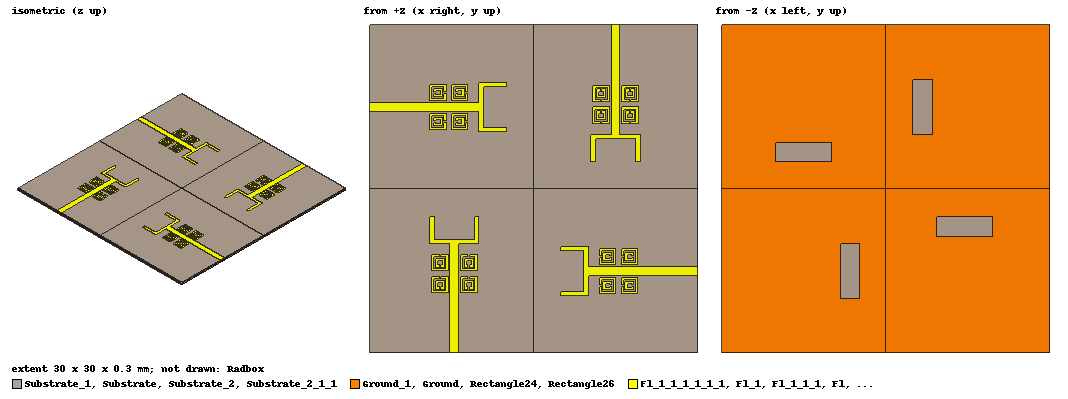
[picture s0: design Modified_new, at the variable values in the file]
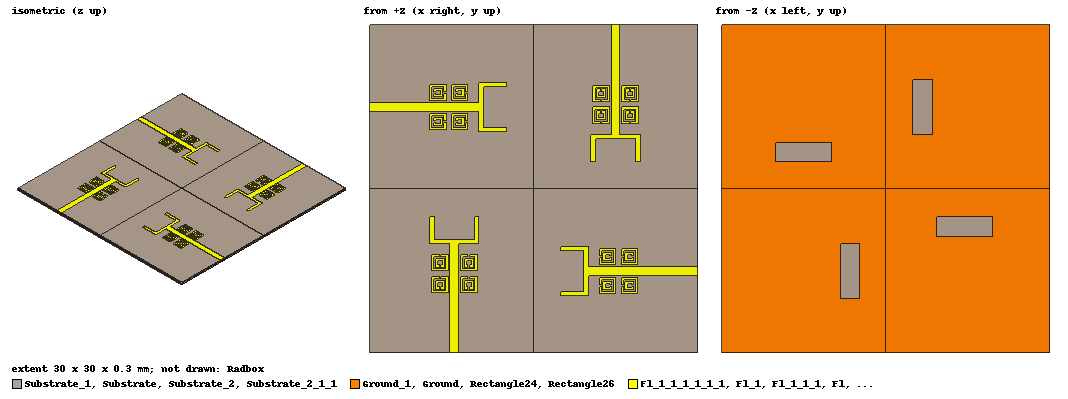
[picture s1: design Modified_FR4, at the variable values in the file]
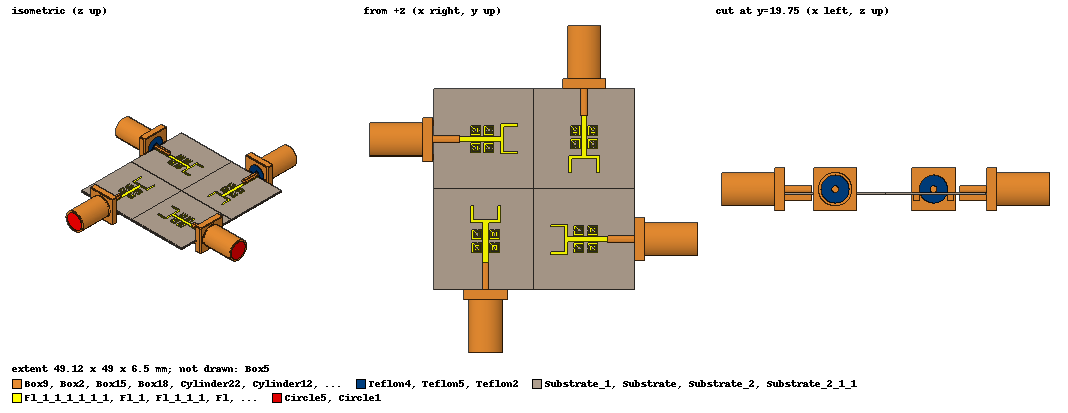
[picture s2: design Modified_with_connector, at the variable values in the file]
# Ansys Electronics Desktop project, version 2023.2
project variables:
  $dist = 2.5Ns_per_m
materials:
  vacuum: permittivity=1
  Rogers RO4003 (tm): permittivity=3.55 dielectric_loss_tangent=0.0027
  FR4_epoxy: permittivity=4.4 dielectric_loss_tangent=0.02
  pec: conductivity=1e+30
  Teflon (tm): permittivity=2.1 dielectric_loss_tangent=0.001
  brass: conductivity=15000000
  air: permittivity=1.0006 permeability=1.0000004

design Modified_new (HFSS, HFSS Modal Network, model units mm)
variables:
  Cx = 0mm
  Cy = 0mm
  Cz = 0mm
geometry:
  Ground = rectangle(corner=(0mm, 0mm, 0mm), x_size=15mm, y_size=15mm)
  Substrate [Rogers RO4003 (tm)] = box(corner=(0mm, 0mm, 0mm), size=(15mm, 15mm, 0.3mm))
  Fl = rectangle(corner=(0mm, 7.1mm, 0.3mm), x_size=10mm, y_size=0.8mm)
  Uout = rectangle(corner=(10mm, 5.25mm, 0.3mm), x_size=2.5mm, y_size=4.5mm)
  Usubtracted = rectangle(corner=(10.4mm, 5.65mm, 0.3mm), x_size=2.1mm, y_size=3.7mm)
  Uout.subtract(Usubtracted)
  Fl.unite(Uout)
  Rectangle1 = rectangle(corner=(10.725mm, 4.95mm, 0mm), x_size=1.8mm, y_size=5.1mm)
  Rectangle2 = rectangle(corner=(0mm, 7.9mm, 0.3mm), y_size=-0.8mm, z_size=-0.3mm)
  Ground.subtract(Rectangle1)
  Rectangle3 = rectangle(corner=(7.5mm, 9.375mm, 0.3mm), x_size=1.5mm, y_size=0.2mm)
  Rectangle4 = rectangle(corner=(7.5mm, 8.075mm, 0.3mm), x_size=0.2mm, y_size=1.5mm)
  Rectangle5 = rectangle(corner=(7.5mm, 8.075mm, 0.3mm), x_size=1.5mm, y_size=0.2mm)
  Rectangle6 = rectangle(corner=(8.8mm, 8.075mm, 0.3mm), x_size=0.2mm, y_size=1.5mm)
  Rectangle7 = rectangle(corner=(8.8mm, 8.75mm, 0.3mm), x_size=0.2mm, y_size=0.15mm)
  Rectangle6.subtract(Rectangle7)
  Rectangle8 = rectangle(corner=(7.5mm, 6.725mm, 0.3mm), x_size=1.5mm, y_size=0.2mm)
  Rectangle9 = rectangle(corner=(7.5mm, 5.425mm, 0.3mm), x_size=0.2mm, y_size=1.5mm)
  Rectangle10 = rectangle(corner=(7.5mm, 5.425mm, 0.3mm), x_size=1.5mm, y_size=0.2mm)
  Rectangle11 = rectangle(corner=(8.8mm, 5.425mm, 0.3mm), x_size=0.2mm, y_size=1.5mm)
  Rectangle12 = rectangle(corner=(8.8mm, 8.95mm, 0.3mm), x_size=0.2mm, y_size=0.15mm)
  Rectangle11.subtract(Rectangle12)
  Rectangle13 = rectangle(corner=(8.8mm, 6.105mm, 0.3mm), x_size=0.2mm, y_size=0.15mm)
  Rectangle11.subtract(Rectangle13)
  Rectangle14 = rectangle(corner=(7.85mm, 8.425mm, 0.3mm), x_size=0.2mm, y_size=0.8mm)
  Rectangle15 = rectangle(corner=(7.85mm, 8.425mm, 0.3mm), x_size=0.8mm, y_size=0.2mm)
  Rectangle16 = rectangle(corner=(7.85mm, 9.025mm, 0.3mm), x_size=0.8mm, y_size=0.2mm)
  Rectangle17 = rectangle(corner=(8.45mm, 8.425mm, 0.3mm), x_size=0.2mm, y_size=0.8mm)
  Rectangle18 = rectangle(corner=(7.85mm, 8.75mm, 0.3mm), x_size=0.2mm, y_size=0.15mm)
  Rectangle14.subtract(Rectangle18)
  Rectangle19 = rectangle(corner=(7.85mm, 5.775mm, 0.3mm), x_size=0.8mm, y_size=0.2mm)
  Rectangle20 = rectangle(corner=(7.85mm, 5.775mm, 0.3mm), x_size=0.2mm, y_size=0.8mm)
  Rectangle21 = rectangle(corner=(7.85mm, 6.375mm, 0.3mm), x_size=0.8mm, y_size=0.2mm)
  Rectangle22 = rectangle(corner=(8.45mm, 5.775mm, 0.3mm), x_size=0.2mm, y_size=0.8mm)
  Rectangle23 = rectangle(corner=(7.85mm, 6.105mm, 0.3mm), x_size=0.2mm, y_size=0.15mm)
  Rectangle20.subtract(Rectangle23)
  Rectangle3.unite(Rectangle4, Rectangle5, Rectangle6)
  Rectangle8.unite(Rectangle9, Rectangle10, Rectangle11)
  Rectangle14.unite(Rectangle15, Rectangle16, Rectangle17)
  Rectangle19.unite(Rectangle20, Rectangle21, Rectangle22)
  coordinate_system RelativeCS1 = origin=(0mm, 0mm, 0mm) x=(1mm, 0mm, 0mm) y=(0mm, 1mm, 0mm)
  coordinate_system RelativeCS2 = origin=(6.7592334mm, 7.5mm, 0.3mm) x=(1mm, 0mm, 0mm) y=(0mm, 1mm, 0mm) in RelativeCS1
  Ground_1 = Ground.duplicate_along_line(step=(15mm, 0mm, 0mm), total=2) in RelativeCS2
  Substrate_1 [Rogers RO4003 (tm)] = Substrate.duplicate_along_line(step=(15mm, 0mm, 0mm), total=2) in RelativeCS2
  Fl_1 = Fl.duplicate_along_line(step=(15mm, 0mm, 0mm), total=2) in RelativeCS2
  Rectangle3_1 = Rectangle3.duplicate_along_line(step=(15mm, 0mm, 0mm), total=2) in RelativeCS2
  Rectangle8_1 = Rectangle8.duplicate_along_line(step=(15mm, 0mm, 0mm), total=2) in RelativeCS2
  Rectangle14_1 = Rectangle14.duplicate_along_line(step=(15mm, 0mm, 0mm), total=2) in RelativeCS2
  Rectangle19_1 = Rectangle19.duplicate_along_line(step=(15mm, 0mm, 0mm), total=2) in RelativeCS2
  [Ground_1, Substrate_1, Fl_1, Rectangle3_1, Rectangle8_1, Rectangle14_1, Rectangle19_1].mirror(point=(8.2407666mm, 7.5mm, 0mm), normal=(-0.70710678mm, -0.70710678mm, 0mm)) in RelativeCS2
  Substrate_2 [Rogers RO4003 (tm)] = Substrate.duplicate_along_line(step=(0mm, -15mm, 0mm), total=2) in RelativeCS2
  Substrate_2_1 = Substrate_2.duplicate_along_line(step=(15mm, -2.6645353e-15mm, 0mm), total=2) in RelativeCS2
  Substrate_2_1.move(15mm, 0mm, 0mm) in RelativeCS2
  Substrate_2_1_1 [Rogers RO4003 (tm)] = Substrate_2_1.duplicate_along_line(step=(-15mm, 0mm, 0mm), total=2) in RelativeCS2
  Substrate_2_1.delete()
  Rectangle24 = rectangle(corner=(8.2407666mm, -22.5mm, -0.3mm), x_size=15mm, y_size=15mm) in RelativeCS2
  Rectangle25 = rectangle(corner=(9.9375mm, -18mm, -0.3mm), x_size=1.8mm, y_size=5.1mm) in RelativeCS2
  Rectangle25.move(0.6625mm, 0.45mm, 0mm) in RelativeCS2
  Rectangle25.move(0.1mm, 0mm, 0mm) in RelativeCS2
  Rectangle25.move(-0.1mm, 0mm, 0mm) in RelativeCS2
  Rectangle24.subtract(Rectangle25)
  Fl_1_1 = Fl_1.duplicate_along_line(step=(-7.5mm, 3.5527137e-15mm, 0mm), total=2) in RelativeCS2
  Rectangle8_1_1 = Rectangle8_1.duplicate_along_line(step=(-7.5mm, 3.5527137e-15mm, 0mm), total=2) in RelativeCS2
  Rectangle19_1_1 = Rectangle19_1.duplicate_along_line(step=(-7.5mm, 3.5527137e-15mm, 0mm), total=2) in RelativeCS2
  Rectangle14_1_1 = Rectangle14_1.duplicate_along_line(step=(-7.5mm, 3.5527137e-15mm, 0mm), total=2) in RelativeCS2
  Rectangle3_1_1 = Rectangle3_1.duplicate_along_line(step=(-7.5mm, 3.5527137e-15mm, 0mm), total=2) in RelativeCS2
  [Fl_1_1, Rectangle19_1_1, Rectangle8_1_1, Rectangle3_1_1, Rectangle14_1_1].move(-1.4210855e-14mm, -30mm, 0mm) in RelativeCS2
  [Fl_1_1, Rectangle8_1_1, Rectangle19_1_1, Rectangle14_1_1, Rectangle3_1_1].rotate(axis=Z, angle=-180deg) in RelativeCS2
  Rectangle26 = rectangle(corner=(8.2407666mm, -7.5mm, -0.3mm), x_size=-15mm, y_size=-15mm) in RelativeCS2
  [Fl_1_1, Rectangle8_1_1, Rectangle19_1_1, Rectangle14_1_1, Rectangle3_1_1].move(-0.25923345mm, -45mm, 0mm) in RelativeCS2
  Fl_1_1_1 = Fl_1_1.duplicate_along_line(step=(9.5mm, 0mm, 0mm), total=2) in RelativeCS2
  Fl_1_1.delete()
  Rectangle8_1_1_1 = Rectangle8_1_1.duplicate_along_line(step=(9.5mm, 0mm, 0mm), total=2) in RelativeCS2
  Rectangle8_1_1.delete()
  Rectangle19_1_1_1 = Rectangle19_1_1.duplicate_along_line(step=(9.5mm, 0mm, 0mm), total=2) in RelativeCS2
  Rectangle19_1_1.delete()
  Rectangle14_1_1_1 = Rectangle14_1_1.duplicate_along_line(step=(9.5mm, 0mm, 0mm), total=2) in RelativeCS2
  Rectangle14_1_1.delete()
  Rectangle3_1_1_1 = Rectangle3_1_1.duplicate_along_line(step=(9.5mm, 0mm, 0mm), total=2) in RelativeCS2
  Rectangle3_1_1.delete()
  Rectangle27 = rectangle(corner=(-1.55mm, -11.8mm, -0.3mm), x_size=5.1mm, y_size=1.8mm) in RelativeCS2
  Rectangle26.subtract(Rectangle27)
  Fl_1_1_1_1 = Fl_1_1_1.duplicate_along_line(step=(0mm, -13.5mm, 0mm), total=2) in RelativeCS2
  Rectangle3_1_1_1_1 = Rectangle3_1_1_1.duplicate_along_line(step=(0mm, -13.5mm, 0mm), total=2) in RelativeCS2
  Rectangle14_1_1_1_1 = Rectangle14_1_1_1.duplicate_along_line(step=(0mm, -13.5mm, 0mm), total=2) in RelativeCS2
  Rectangle8_1_1_1_1 = Rectangle8_1_1_1.duplicate_along_line(step=(0mm, -13.5mm, 0mm), total=2) in RelativeCS2
  Rectangle19_1_1_1_1 = Rectangle19_1_1_1.duplicate_along_line(step=(0mm, -13.5mm, 0mm), total=2) in RelativeCS2
  [Fl_1_1_1_1, Rectangle3_1_1_1_1, Rectangle14_1_1_1_1, Rectangle8_1_1_1_1, Rectangle19_1_1_1_1].rotate(axis=Z, angle=90deg) in RelativeCS2
  Fl_1_1_1_1_1 = Fl_1_1_1_1.duplicate_along_line(step=(0mm, -16mm, 0mm), total=2) in RelativeCS2
  Fl_1_1_1_1.delete()
  Rectangle8_1_1_1_1_1 = Rectangle8_1_1_1_1.duplicate_along_line(step=(0mm, -16mm, 0mm), total=2) in RelativeCS2
  Rectangle8_1_1_1_1.delete()
  Rectangle19_1_1_1_1_1 = Rectangle19_1_1_1_1.duplicate_along_line(step=(0mm, -16mm, 0mm), total=2) in RelativeCS2
  Rectangle19_1_1_1_1.delete()
  Rectangle3_1_1_1_1_1 = Rectangle3_1_1_1_1.duplicate_along_line(step=(0mm, -16mm, 0mm), total=2) in RelativeCS2
  Rectangle3_1_1_1_1.delete()
  Rectangle14_1_1_1_1_1 = Rectangle14_1_1_1_1.duplicate_along_line(step=(0mm, -16mm, 0mm), total=2) in RelativeCS2
  Rectangle14_1_1_1_1.delete()
  Fl_1_1_1_1_1_1 = Fl_1_1_1_1_1.duplicate_along_line(step=(-12.759233mm, 0mm, 0mm), total=2) in RelativeCS2
  Fl_1_1_1_1_1.delete()
  Rectangle8_1_1_1_1_1_1 = Rectangle8_1_1_1_1_1.duplicate_along_line(step=(-12.759233mm, 0mm, 0mm), total=2) in RelativeCS2
  Rectangle8_1_1_1_1_1.delete()
  Rectangle19_1_1_1_1_1_1 = Rectangle19_1_1_1_1_1.duplicate_along_line(step=(-12.759233mm, 0mm, 0mm), total=2) in RelativeCS2
  Rectangle19_1_1_1_1_1.delete()
  Rectangle3_1_1_1_1_1_1 = Rectangle3_1_1_1_1_1.duplicate_along_line(step=(-12.759233mm, 0mm, 0mm), total=2) in RelativeCS2
  Rectangle3_1_1_1_1_1.delete()
  Rectangle14_1_1_1_1_1_1 = Rectangle14_1_1_1_1_1.duplicate_along_line(step=(-12.759233mm, 0mm, 0mm), total=2) in RelativeCS2
  Rectangle14_1_1_1_1_1.delete()
  Rectangle28 = rectangle(corner=(0.6mm, -22.5mm, 0mm), z_size=-0.3mm, x_size=0.8mm) in RelativeCS2
  Rectangle29 = rectangle(corner=(23.240767mm, -15.4mm, 0mm), y_size=0.8mm, z_size=-0.3mm) in RelativeCS2
  Rectangle30 = rectangle(corner=(16.140767mm, 7.5mm, 0mm), z_size=-0.3mm, x_size=-0.80076655mm) in RelativeCS2
  Radbox [vacuum] = box(corner=(-10.5mm, -26mm, -2mm), size=(38mm, 38mm, 4mm)) in RelativeCS2
  Rectangle14_2 = Rectangle14.duplicate_along_line(step=(-2.0007666mm, 0mm, 0mm), total=2) in RelativeCS2
  Rectangle3_2 = Rectangle3.duplicate_along_line(step=(-2.0007666mm, 0mm, 0mm), total=2) in RelativeCS2
  Rectangle8_2 = Rectangle8.duplicate_along_line(step=(-2.0007666mm, 0mm, 0mm), total=2) in RelativeCS2
  Rectangle19_2 = Rectangle19.duplicate_along_line(step=(-2.0007666mm, 0mm, 0mm), total=2) in RelativeCS2
  Rectangle8_1_1_1_2 = Rectangle8_1_1_1.duplicate_along_line(step=(0mm, -2mm, 0mm), total=2) in RelativeCS2
  Rectangle19_1_1_1_2 = Rectangle19_1_1_1.duplicate_along_line(step=(0mm, -2mm, 0mm), total=2) in RelativeCS2
  Rectangle3_1_1_1_2 = Rectangle3_1_1_1.duplicate_along_line(step=(0mm, -2mm, 0mm), total=2) in RelativeCS2
  Rectangle14_1_1_1_2 = Rectangle14_1_1_1.duplicate_along_line(step=(0mm, -2mm, 0mm), total=2) in RelativeCS2
  Rectangle14_1_1_1_1_1_1_1 = Rectangle14_1_1_1_1_1_1.duplicate_along_line(step=(2.0092334mm, 0mm, 0mm), total=2) in RelativeCS2
  Rectangle3_1_1_1_1_1_1_1 = Rectangle3_1_1_1_1_1_1.duplicate_along_line(step=(2.0092334mm, 0mm, 0mm), total=2) in RelativeCS2
  Rectangle8_1_1_1_1_1_1_1 = Rectangle8_1_1_1_1_1_1.duplicate_along_line(step=(2.0092334mm, 0mm, 0mm), total=2) in RelativeCS2
  Rectangle19_1_1_1_1_1_1_1 = Rectangle19_1_1_1_1_1_1.duplicate_along_line(step=(2.0092334mm, 0mm, 0mm), total=2) in RelativeCS2
  Rectangle19_1_2 = Rectangle19_1.duplicate_along_line(step=(0.014233449mm, 2mm, 0mm), total=2) in RelativeCS2
  Rectangle8_1_2 = Rectangle8_1.duplicate_along_line(step=(0.014233449mm, 2mm, 0mm), total=2) in RelativeCS2
  Rectangle3_1_2 = Rectangle3_1.duplicate_along_line(step=(0.014233449mm, 2mm, 0mm), total=2) in RelativeCS2
  Rectangle14_1_2 = Rectangle14_1.duplicate_along_line(step=(0.014233449mm, 2mm, 0mm), total=2) in RelativeCS2
  coordinate_system RelativeCS3 = origin=(-6.7592334mm, 7.5mm, 0mm) x=(1mm, 0mm, 0mm) y=(0mm, 1mm, 0mm) in RelativeCS2
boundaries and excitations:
  PerfE3: Perfect E Objects=Ground
  PerfE9: Perfect E Objects=Ground_1
  PerfE31: Perfect E Objects=Rectangle24
  PerfE37: Perfect E Objects=Rectangle26
  Rad1: Radiation Objects=Radbox
  PerfE1: Perfect E Objects=[Rectangle19, Rectangle8, Rectangle14, Rectangle3, Fl]
  PerfE21: Perfect E Objects=[Fl_1_1_1, Rectangle14_1_1_1, Rectangle3_1_1_1, Rectangle8_1_1_1, Rectangle19_1_1_1]
  PerfE311: Perfect E Objects=[Fl_1_1_1_1_1_1, Rectangle3_1_1_1_1_1_1, Rectangle14_1_1_1_1_1_1, Rectangle8_1_1_1_1_1_1, Rectangle19_1_1_1_1_1_1]
  PerfE41: Perfect E Objects=[Fl_1, Rectangle19_1, Rectangle8_1, Rectangle3_1, Rectangle14_1]
  PerfE312: Perfect E Objects=[Rectangle3_1_1_1_1_1_1_1, Rectangle3_1_1_1_2, Rectangle3_1_2, Rectangle3_2, Rectangle8_1_1_1_1_1_1_1, Rectangle8_1_1_1_2, Rectangle8_1_2, Rectangle8_2, Rectangle14_1_1_1_1_1_1_1, Rectangle14_1_1_1_2, Rectangle14_1_2, Rectangle14_2, Rectangle19_1_1_1_1_1_1_1, Rectangle19_1_1_1_2, Rectangle19_1_2, Rectangle19_2]
  1: Lumped Port Objects=Rectangle2 LumpedPortType=Modal Modes{Mode1{IntLine{(0, 7.5, 0.15) -> (0, 7.5, 0.3)} CharImp=Zpi RenormImp=50ohm}} Impedance=50ohm
  2: Lumped Port Objects=Rectangle28 LumpedPortType=Modal Modes{Mode1{IntLine{(7.7592334, -15, 0) -> (7.7592334, -15, 0.3)} CharImp=Zpi RenormImp=50ohm}} Impedance=50ohm
  3: Lumped Port Objects=Rectangle29 LumpedPortType=Modal Modes{Mode1{IntLine{(30, -7.5, 0) -> (30, -7.5, 0.3)} CharImp=Zpi RenormImp=50ohm}} Impedance=50ohm
  4: Lumped Port Objects=Rectangle30 LumpedPortType=Modal Modes{Mode1{IntLine{(22.5, 15, 0) -> (22.499617, 15, 0.3)} CharImp=Zpi RenormImp=50ohm}} Impedance=50ohm
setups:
  Setup2: HfssDriven MultipleAdaptiveFreqsSetup{AdaptAt{Frequency=28GHz Delta=0.02} AdaptAt{Frequency=36GHz Delta=0.02}} MaximumPasses=8 MinimumPasses=1 MinimumConvergedPasses=1 PercentRefinement=30 BasisOrder=1 PortAccuracy=2 DrivenSolverType="Direct Solver"
    sweep Sweep: 26GHz to 42GHz, 401 points; Type=Fast SaveFields
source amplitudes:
  1:1: 1V 0deg
  2:1, 3:1, 4:1: 0V 0deg
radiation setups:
  Infinite Sphere1: Infinite Sphere Theta=0deg..360deg step 2deg Phi=-180deg..180deg step 2deg
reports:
  Modified: dB(S(1,1)), dB(S(2,1)), dB(S(3,1)), dB(S(4,1)) vs Freq on Setup2 : Sweep
  Gain Plot 1: dB(GainTotal) vs Phi, Theta on Setup2 : LastAdaptive, Infinite Sphere1 [Freq=28GHz]
  Gain Plot 3: dB(GainTotal) vs Theta on Setup2 : LastAdaptive, Infinite Sphere1 [Phi=180deg Freq=28GHz]

design Modified_FR4 (HFSS, HFSS Modal Network, model units mm)
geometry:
  Ground = rectangle(corner=(0mm, 0mm, 0mm), x_size=15mm, y_size=15mm)
  Substrate [FR4_epoxy] = box(corner=(0mm, 0mm, 0mm), size=(15mm, 15mm, 0.3mm))
  Fl = rectangle(corner=(0mm, 7.1mm, 0.3mm), x_size=10mm, y_size=0.8mm)
  Uout = rectangle(corner=(10mm, 5.25mm, 0.3mm), x_size=2.5mm, y_size=4.5mm)
  Usubtracted = rectangle(corner=(10.4mm, 5.65mm, 0.3mm), x_size=2.1mm, y_size=3.7mm)
  Uout.subtract(Usubtracted)
  Fl.unite(Uout)
  Rectangle1 = rectangle(corner=(10.725mm, 4.95mm, 0mm), x_size=1.8mm, y_size=5.1mm)
  Rectangle2 = rectangle(corner=(0mm, 7.9mm, 0.3mm), y_size=-0.8mm, z_size=-0.3mm)
  Ground.subtract(Rectangle1)
  Rectangle3 = rectangle(corner=(7.5mm, 9.375mm, 0.3mm), x_size=1.5mm, y_size=0.2mm)
  Rectangle4 = rectangle(corner=(7.5mm, 8.075mm, 0.3mm), x_size=0.2mm, y_size=1.5mm)
  Rectangle5 = rectangle(corner=(7.5mm, 8.075mm, 0.3mm), x_size=1.5mm, y_size=0.2mm)
  Rectangle6 = rectangle(corner=(8.8mm, 8.075mm, 0.3mm), x_size=0.2mm, y_size=1.5mm)
  Rectangle7 = rectangle(corner=(8.8mm, 8.75mm, 0.3mm), x_size=0.2mm, y_size=0.15mm)
  Rectangle6.subtract(Rectangle7)
  Rectangle8 = rectangle(corner=(7.5mm, 6.725mm, 0.3mm), x_size=1.5mm, y_size=0.2mm)
  Rectangle9 = rectangle(corner=(7.5mm, 5.425mm, 0.3mm), x_size=0.2mm, y_size=1.5mm)
  Rectangle10 = rectangle(corner=(7.5mm, 5.425mm, 0.3mm), x_size=1.5mm, y_size=0.2mm)
  Rectangle11 = rectangle(corner=(8.8mm, 5.425mm, 0.3mm), x_size=0.2mm, y_size=1.5mm)
  Rectangle12 = rectangle(corner=(8.8mm, 8.95mm, 0.3mm), x_size=0.2mm, y_size=0.15mm)
  Rectangle11.subtract(Rectangle12)
  Rectangle13 = rectangle(corner=(8.8mm, 6.105mm, 0.3mm), x_size=0.2mm, y_size=0.15mm)
  Rectangle11.subtract(Rectangle13)
  Rectangle14 = rectangle(corner=(7.85mm, 8.425mm, 0.3mm), x_size=0.2mm, y_size=0.8mm)
  Rectangle15 = rectangle(corner=(7.85mm, 8.425mm, 0.3mm), x_size=0.8mm, y_size=0.2mm)
  Rectangle16 = rectangle(corner=(7.85mm, 9.025mm, 0.3mm), x_size=0.8mm, y_size=0.2mm)
  Rectangle17 = rectangle(corner=(8.45mm, 8.425mm, 0.3mm), x_size=0.2mm, y_size=0.8mm)
  Rectangle18 = rectangle(corner=(7.85mm, 8.75mm, 0.3mm), x_size=0.2mm, y_size=0.15mm)
  Rectangle14.subtract(Rectangle18)
  Rectangle19 = rectangle(corner=(7.85mm, 5.775mm, 0.3mm), x_size=0.8mm, y_size=0.2mm)
  Rectangle20 = rectangle(corner=(7.85mm, 5.775mm, 0.3mm), x_size=0.2mm, y_size=0.8mm)
  Rectangle21 = rectangle(corner=(7.85mm, 6.375mm, 0.3mm), x_size=0.8mm, y_size=0.2mm)
  Rectangle22 = rectangle(corner=(8.45mm, 5.775mm, 0.3mm), x_size=0.2mm, y_size=0.8mm)
  Rectangle23 = rectangle(corner=(7.85mm, 6.105mm, 0.3mm), x_size=0.2mm, y_size=0.15mm)
  Rectangle20.subtract(Rectangle23)
  Rectangle3.unite(Rectangle4, Rectangle5, Rectangle6)
  Rectangle8.unite(Rectangle9, Rectangle10, Rectangle11)
  Rectangle14.unite(Rectangle15, Rectangle16, Rectangle17)
  Rectangle19.unite(Rectangle20, Rectangle21, Rectangle22)
  coordinate_system RelativeCS1 = origin=(0mm, 0mm, 0mm) x=(1mm, 0mm, 0mm) y=(0mm, 1mm, 0mm)
  coordinate_system RelativeCS2 = origin=(6.7592334mm, 7.5mm, 0.3mm) x=(1mm, 0mm, 0mm) y=(0mm, 1mm, 0mm) in RelativeCS1
  Ground_1 = Ground.duplicate_along_line(step=(15mm, 0mm, 0mm), total=2) in RelativeCS2
  Substrate_1 [FR4_epoxy] = Substrate.duplicate_along_line(step=(15mm, 0mm, 0mm), total=2) in RelativeCS2
  Fl_1 = Fl.duplicate_along_line(step=(15mm, 0mm, 0mm), total=2) in RelativeCS2
  Rectangle3_1 = Rectangle3.duplicate_along_line(step=(15mm, 0mm, 0mm), total=2) in RelativeCS2
  Rectangle8_1 = Rectangle8.duplicate_along_line(step=(15mm, 0mm, 0mm), total=2) in RelativeCS2
  Rectangle14_1 = Rectangle14.duplicate_along_line(step=(15mm, 0mm, 0mm), total=2) in RelativeCS2
  Rectangle19_1 = Rectangle19.duplicate_along_line(step=(15mm, 0mm, 0mm), total=2) in RelativeCS2
  [Ground_1, Substrate_1, Fl_1, Rectangle3_1, Rectangle8_1, Rectangle14_1, Rectangle19_1].mirror(point=(8.2407666mm, 7.5mm, 0mm), normal=(-0.70710678mm, -0.70710678mm, 0mm)) in RelativeCS2
  Substrate_2 [FR4_epoxy] = Substrate.duplicate_along_line(step=(0mm, -15mm, 0mm), total=2) in RelativeCS2
  Substrate_2_1 = Substrate_2.duplicate_along_line(step=(15mm, -2.6645353e-15mm, 0mm), total=2) in RelativeCS2
  Substrate_2_1.move(15mm, 0mm, 0mm) in RelativeCS2
  Substrate_2_1_1 [FR4_epoxy] = Substrate_2_1.duplicate_along_line(step=(-15mm, 0mm, 0mm), total=2) in RelativeCS2
  Substrate_2_1.delete()
  Rectangle24 = rectangle(corner=(8.2407666mm, -22.5mm, -0.3mm), x_size=15mm, y_size=15mm) in RelativeCS2
  Rectangle25 = rectangle(corner=(9.9375mm, -18mm, -0.3mm), x_size=1.8mm, y_size=5.1mm) in RelativeCS2
  Rectangle25.move(0.6625mm, 0.45mm, 0mm) in RelativeCS2
  Rectangle25.move(0.1mm, 0mm, 0mm) in RelativeCS2
  Rectangle25.move(-0.1mm, 0mm, 0mm) in RelativeCS2
  Rectangle24.subtract(Rectangle25)
  Fl_1_1 = Fl_1.duplicate_along_line(step=(-7.5mm, 3.5527137e-15mm, 0mm), total=2) in RelativeCS2
  Rectangle8_1_1 = Rectangle8_1.duplicate_along_line(step=(-7.5mm, 3.5527137e-15mm, 0mm), total=2) in RelativeCS2
  Rectangle19_1_1 = Rectangle19_1.duplicate_along_line(step=(-7.5mm, 3.5527137e-15mm, 0mm), total=2) in RelativeCS2
  Rectangle14_1_1 = Rectangle14_1.duplicate_along_line(step=(-7.5mm, 3.5527137e-15mm, 0mm), total=2) in RelativeCS2
  Rectangle3_1_1 = Rectangle3_1.duplicate_along_line(step=(-7.5mm, 3.5527137e-15mm, 0mm), total=2) in RelativeCS2
  [Fl_1_1, Rectangle19_1_1, Rectangle8_1_1, Rectangle3_1_1, Rectangle14_1_1].move(-1.4210855e-14mm, -30mm, 0mm) in RelativeCS2
  [Fl_1_1, Rectangle8_1_1, Rectangle19_1_1, Rectangle14_1_1, Rectangle3_1_1].rotate(axis=Z, angle=-180deg) in RelativeCS2
  Rectangle26 = rectangle(corner=(8.2407666mm, -7.5mm, -0.3mm), x_size=-15mm, y_size=-15mm) in RelativeCS2
  [Fl_1_1, Rectangle8_1_1, Rectangle19_1_1, Rectangle14_1_1, Rectangle3_1_1].move(-0.25923345mm, -45mm, 0mm) in RelativeCS2
  Fl_1_1_1 = Fl_1_1.duplicate_along_line(step=(9.5mm, 0mm, 0mm), total=2) in RelativeCS2
  Fl_1_1.delete()
  Rectangle8_1_1_1 = Rectangle8_1_1.duplicate_along_line(step=(9.5mm, 0mm, 0mm), total=2) in RelativeCS2
  Rectangle8_1_1.delete()
  Rectangle19_1_1_1 = Rectangle19_1_1.duplicate_along_line(step=(9.5mm, 0mm, 0mm), total=2) in RelativeCS2
  Rectangle19_1_1.delete()
  Rectangle14_1_1_1 = Rectangle14_1_1.duplicate_along_line(step=(9.5mm, 0mm, 0mm), total=2) in RelativeCS2
  Rectangle14_1_1.delete()
  Rectangle3_1_1_1 = Rectangle3_1_1.duplicate_along_line(step=(9.5mm, 0mm, 0mm), total=2) in RelativeCS2
  Rectangle3_1_1.delete()
  Rectangle27 = rectangle(corner=(-1.55mm, -11.8mm, -0.3mm), x_size=5.1mm, y_size=1.8mm) in RelativeCS2
  Rectangle26.subtract(Rectangle27)
  Fl_1_1_1_1 = Fl_1_1_1.duplicate_along_line(step=(0mm, -13.5mm, 0mm), total=2) in RelativeCS2
  Rectangle3_1_1_1_1 = Rectangle3_1_1_1.duplicate_along_line(step=(0mm, -13.5mm, 0mm), total=2) in RelativeCS2
  Rectangle14_1_1_1_1 = Rectangle14_1_1_1.duplicate_along_line(step=(0mm, -13.5mm, 0mm), total=2) in RelativeCS2
  Rectangle8_1_1_1_1 = Rectangle8_1_1_1.duplicate_along_line(step=(0mm, -13.5mm, 0mm), total=2) in RelativeCS2
  Rectangle19_1_1_1_1 = Rectangle19_1_1_1.duplicate_along_line(step=(0mm, -13.5mm, 0mm), total=2) in RelativeCS2
  [Fl_1_1_1_1, Rectangle3_1_1_1_1, Rectangle14_1_1_1_1, Rectangle8_1_1_1_1, Rectangle19_1_1_1_1].rotate(axis=Z, angle=90deg) in RelativeCS2
  Fl_1_1_1_1_1 = Fl_1_1_1_1.duplicate_along_line(step=(0mm, -16mm, 0mm), total=2) in RelativeCS2
  Fl_1_1_1_1.delete()
  Rectangle8_1_1_1_1_1 = Rectangle8_1_1_1_1.duplicate_along_line(step=(0mm, -16mm, 0mm), total=2) in RelativeCS2
  Rectangle8_1_1_1_1.delete()
  Rectangle19_1_1_1_1_1 = Rectangle19_1_1_1_1.duplicate_along_line(step=(0mm, -16mm, 0mm), total=2) in RelativeCS2
  Rectangle19_1_1_1_1.delete()
  Rectangle3_1_1_1_1_1 = Rectangle3_1_1_1_1.duplicate_along_line(step=(0mm, -16mm, 0mm), total=2) in RelativeCS2
  Rectangle3_1_1_1_1.delete()
  Rectangle14_1_1_1_1_1 = Rectangle14_1_1_1_1.duplicate_along_line(step=(0mm, -16mm, 0mm), total=2) in RelativeCS2
  Rectangle14_1_1_1_1.delete()
  Fl_1_1_1_1_1_1 = Fl_1_1_1_1_1.duplicate_along_line(step=(-12.759233mm, 0mm, 0mm), total=2) in RelativeCS2
  Fl_1_1_1_1_1.delete()
  Rectangle8_1_1_1_1_1_1 = Rectangle8_1_1_1_1_1.duplicate_along_line(step=(-12.759233mm, 0mm, 0mm), total=2) in RelativeCS2
  Rectangle8_1_1_1_1_1.delete()
  Rectangle19_1_1_1_1_1_1 = Rectangle19_1_1_1_1_1.duplicate_along_line(step=(-12.759233mm, 0mm, 0mm), total=2) in RelativeCS2
  Rectangle19_1_1_1_1_1.delete()
  Rectangle3_1_1_1_1_1_1 = Rectangle3_1_1_1_1_1.duplicate_along_line(step=(-12.759233mm, 0mm, 0mm), total=2) in RelativeCS2
  Rectangle3_1_1_1_1_1.delete()
  Rectangle14_1_1_1_1_1_1 = Rectangle14_1_1_1_1_1.duplicate_along_line(step=(-12.759233mm, 0mm, 0mm), total=2) in RelativeCS2
  Rectangle14_1_1_1_1_1.delete()
  Rectangle28 = rectangle(corner=(0.6mm, -22.5mm, 0mm), z_size=-0.3mm, x_size=0.8mm) in RelativeCS2
  Rectangle29 = rectangle(corner=(23.240767mm, -15.4mm, 0mm), y_size=0.8mm, z_size=-0.3mm) in RelativeCS2
  Rectangle30 = rectangle(corner=(16.140767mm, 7.5mm, 0mm), z_size=-0.3mm, x_size=-0.80076655mm) in RelativeCS2
  Radbox [vacuum] = box(corner=(-8mm, -23.5mm, -1mm), size=(32mm, 32mm, 2mm)) in RelativeCS2
  Rectangle14_2 = Rectangle14.duplicate_along_line(step=(-2.0007666mm, 0mm, 0mm), total=2) in RelativeCS2
  Rectangle3_2 = Rectangle3.duplicate_along_line(step=(-2.0007666mm, 0mm, 0mm), total=2) in RelativeCS2
  Rectangle8_2 = Rectangle8.duplicate_along_line(step=(-2.0007666mm, 0mm, 0mm), total=2) in RelativeCS2
  Rectangle19_2 = Rectangle19.duplicate_along_line(step=(-2.0007666mm, 0mm, 0mm), total=2) in RelativeCS2
  Rectangle8_1_1_1_2 = Rectangle8_1_1_1.duplicate_along_line(step=(0mm, -2mm, 0mm), total=2) in RelativeCS2
  Rectangle19_1_1_1_2 = Rectangle19_1_1_1.duplicate_along_line(step=(0mm, -2mm, 0mm), total=2) in RelativeCS2
  Rectangle3_1_1_1_2 = Rectangle3_1_1_1.duplicate_along_line(step=(0mm, -2mm, 0mm), total=2) in RelativeCS2
  Rectangle14_1_1_1_2 = Rectangle14_1_1_1.duplicate_along_line(step=(0mm, -2mm, 0mm), total=2) in RelativeCS2
  Rectangle14_1_1_1_1_1_1_1 = Rectangle14_1_1_1_1_1_1.duplicate_along_line(step=(2.0092334mm, 0mm, 0mm), total=2) in RelativeCS2
  Rectangle3_1_1_1_1_1_1_1 = Rectangle3_1_1_1_1_1_1.duplicate_along_line(step=(2.0092334mm, 0mm, 0mm), total=2) in RelativeCS2
  Rectangle8_1_1_1_1_1_1_1 = Rectangle8_1_1_1_1_1_1.duplicate_along_line(step=(2.0092334mm, 0mm, 0mm), total=2) in RelativeCS2
  Rectangle19_1_1_1_1_1_1_1 = Rectangle19_1_1_1_1_1_1.duplicate_along_line(step=(2.0092334mm, 0mm, 0mm), total=2) in RelativeCS2
  Rectangle19_1_2 = Rectangle19_1.duplicate_along_line(step=(0.014233449mm, 2mm, 0mm), total=2) in RelativeCS2
  Rectangle8_1_2 = Rectangle8_1.duplicate_along_line(step=(0.014233449mm, 2mm, 0mm), total=2) in RelativeCS2
  Rectangle3_1_2 = Rectangle3_1.duplicate_along_line(step=(0.014233449mm, 2mm, 0mm), total=2) in RelativeCS2
  Rectangle14_1_2 = Rectangle14_1.duplicate_along_line(step=(0.014233449mm, 2mm, 0mm), total=2) in RelativeCS2
  coordinate_system RelativeCS3 = origin=(6.6mm, -9mm, -1.5mm) x=(1mm, 0mm, 0mm) y=(0mm, 1mm, 0mm) in RelativeCS2
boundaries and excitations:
  PerfE3: Perfect E Objects=Ground
  PerfE9: Perfect E Objects=Ground_1
  PerfE31: Perfect E Objects=Rectangle24
  PerfE37: Perfect E Objects=Rectangle26
  Rad1: Radiation Objects=Radbox
  PerfE1: Perfect E Objects=[Rectangle19, Rectangle8, Rectangle14, Rectangle3, Fl]
  PerfE21: Perfect E Objects=[Fl_1_1_1, Rectangle14_1_1_1, Rectangle3_1_1_1, Rectangle8_1_1_1, Rectangle19_1_1_1]
  PerfE311: Perfect E Objects=[Fl_1_1_1_1_1_1, Rectangle3_1_1_1_1_1_1, Rectangle14_1_1_1_1_1_1, Rectangle8_1_1_1_1_1_1, Rectangle19_1_1_1_1_1_1]
  PerfE41: Perfect E Objects=[Fl_1, Rectangle19_1, Rectangle8_1, Rectangle3_1, Rectangle14_1]
  1: Lumped Port Objects=Rectangle2 LumpedPortType=Modal Modes{Mode1{IntLine{(0, 7.5, 0.15) -> (0, 7.5, 0.3)} CharImp=Zpi RenormImp=50ohm}} Impedance=50ohm
  2: Lumped Port Objects=Rectangle28 LumpedPortType=Modal Modes{Mode1{IntLine{(7.7592334, -15, 0) -> (7.7592334, -15, 0.3)} CharImp=Zpi RenormImp=50ohm}} Impedance=50ohm
  3: Lumped Port Objects=Rectangle29 LumpedPortType=Modal Modes{Mode1{IntLine{(30, -7.5, 0) -> (30, -7.5, 0.3)} CharImp=Zpi RenormImp=50ohm}} Impedance=50ohm
  4: Lumped Port Objects=Rectangle30 LumpedPortType=Modal Modes{Mode1{IntLine{(22.5, 15, 0) -> (22.499617, 15, 0.3)} CharImp=Zpi RenormImp=50ohm}} Impedance=50ohm
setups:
  Setup2: HfssDriven Frequency=28GHz MaxDeltaS=0.02 MaximumPasses=8 MinimumPasses=1 MinimumConvergedPasses=1 PercentRefinement=30 BasisOrder=1 PortAccuracy=2 DrivenSolverType="Direct Solver"
    sweep Sweep: 26GHz to 42GHz, 401 points; Type=Fast SaveFields
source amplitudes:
  1:1: 1V 0deg
  2:1, 3:1, 4:1: 0V 0deg
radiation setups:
  Infinite Sphere1: Infinite Sphere Theta=0deg..360deg step 2deg Phi=-180deg..180deg step 2deg
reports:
  FR4-Modified: dB(S(1,1)), dB(S(2,1)), dB(S(3,1)), dB(S(4,1)) vs Freq on Setup2 : Sweep; markers m1 at 27.76GHz, m2 at 32.4GHz, m3 at 29.52GHz, m4 at 34.48GHz, m5 at 29.36GHz, m6 at 34.52GHz, m7 at 33.56GHz, m8 at 38.16GHz
  Gain Plot 1: dB(GainTotal) vs Theta on Setup2 : LastAdaptive, Infinite Sphere1 [Phi=180deg Freq=28GHz]

design Modified_with_connector (HFSS, HFSS Modal Network, model units mm)
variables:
  Cx = -4mm
  Cy = 7.5mm
  Cz = 0.5mm
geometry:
  Ground = rectangle(corner=(0mm, 0mm, 0mm), x_size=15mm, y_size=15mm)
  Substrate [Rogers RO4003 (tm)] = box(corner=(0mm, 0mm, 0mm), size=(15mm, 15mm, 0.3mm))
  Fl = rectangle(corner=(0mm, 7.1mm, 0.3mm), x_size=10mm, y_size=0.8mm)
  Uout = rectangle(corner=(10mm, 5.25mm, 0.3mm), x_size=2.5mm, y_size=4.5mm)
  Usubtracted = rectangle(corner=(10.4mm, 5.65mm, 0.3mm), x_size=2.1mm, y_size=3.7mm)
  Uout.subtract(Usubtracted)
  Fl.unite(Uout)
  Rectangle1 = rectangle(corner=(10.725mm, 4.95mm, 0mm), x_size=1.8mm, y_size=5.1mm)
  Rectangle2 = rectangle(corner=(0mm, 7.9mm, 0.3mm), y_size=-0.8mm, z_size=-0.3mm)
  Ground.subtract(Rectangle1)
  Rectangle3 = rectangle(corner=(7.5mm, 9.375mm, 0.3mm), x_size=1.5mm, y_size=0.2mm)
  Rectangle4 = rectangle(corner=(7.5mm, 8.075mm, 0.3mm), x_size=0.2mm, y_size=1.5mm)
  Rectangle5 = rectangle(corner=(7.5mm, 8.075mm, 0.3mm), x_size=1.5mm, y_size=0.2mm)
  Rectangle6 = rectangle(corner=(8.8mm, 8.075mm, 0.3mm), x_size=0.2mm, y_size=1.5mm)
  Rectangle7 = rectangle(corner=(8.8mm, 8.75mm, 0.3mm), x_size=0.2mm, y_size=0.15mm)
  Rectangle6.subtract(Rectangle7)
  Rectangle8 = rectangle(corner=(7.5mm, 6.725mm, 0.3mm), x_size=1.5mm, y_size=0.2mm)
  Rectangle9 = rectangle(corner=(7.5mm, 5.425mm, 0.3mm), x_size=0.2mm, y_size=1.5mm)
  Rectangle10 = rectangle(corner=(7.5mm, 5.425mm, 0.3mm), x_size=1.5mm, y_size=0.2mm)
  Rectangle11 = rectangle(corner=(8.8mm, 5.425mm, 0.3mm), x_size=0.2mm, y_size=1.5mm)
  Rectangle12 = rectangle(corner=(8.8mm, 8.95mm, 0.3mm), x_size=0.2mm, y_size=0.15mm)
  Rectangle11.subtract(Rectangle12)
  Rectangle13 = rectangle(corner=(8.8mm, 6.105mm, 0.3mm), x_size=0.2mm, y_size=0.15mm)
  Rectangle11.subtract(Rectangle13)
  Rectangle14 = rectangle(corner=(7.85mm, 8.425mm, 0.3mm), x_size=0.2mm, y_size=0.8mm)
  Rectangle15 = rectangle(corner=(7.85mm, 8.425mm, 0.3mm), x_size=0.8mm, y_size=0.2mm)
  Rectangle16 = rectangle(corner=(7.85mm, 9.025mm, 0.3mm), x_size=0.8mm, y_size=0.2mm)
  Rectangle17 = rectangle(corner=(8.45mm, 8.425mm, 0.3mm), x_size=0.2mm, y_size=0.8mm)
  Rectangle18 = rectangle(corner=(7.85mm, 8.75mm, 0.3mm), x_size=0.2mm, y_size=0.15mm)
  Rectangle14.subtract(Rectangle18)
  Rectangle19 = rectangle(corner=(7.85mm, 5.775mm, 0.3mm), x_size=0.8mm, y_size=0.2mm)
  Rectangle20 = rectangle(corner=(7.85mm, 5.775mm, 0.3mm), x_size=0.2mm, y_size=0.8mm)
  Rectangle21 = rectangle(corner=(7.85mm, 6.375mm, 0.3mm), x_size=0.8mm, y_size=0.2mm)
  Rectangle22 = rectangle(corner=(8.45mm, 5.775mm, 0.3mm), x_size=0.2mm, y_size=0.8mm)
  Rectangle23 = rectangle(corner=(7.85mm, 6.105mm, 0.3mm), x_size=0.2mm, y_size=0.15mm)
  Rectangle20.subtract(Rectangle23)
  Rectangle3.unite(Rectangle4, Rectangle5, Rectangle6)
  Rectangle8.unite(Rectangle9, Rectangle10, Rectangle11)
  Rectangle14.unite(Rectangle15, Rectangle16, Rectangle17)
  Rectangle19.unite(Rectangle20, Rectangle21, Rectangle22)
  coordinate_system RelativeCS1 = origin=(0mm, 0mm, 0mm) x=(1mm, 0mm, 0mm) y=(0mm, 1mm, 0mm)
  coordinate_system RelativeCS2 = origin=(6.7592334mm, 7.5mm, 0.3mm) x=(1mm, 0mm, 0mm) y=(0mm, 1mm, 0mm) in RelativeCS1
  Ground_1 = Ground.duplicate_along_line(step=(15mm, 0mm, 0mm), total=2) in RelativeCS2
  Substrate_1 [Rogers RO4003 (tm)] = Substrate.duplicate_along_line(step=(15mm, 0mm, 0mm), total=2) in RelativeCS2
  Fl_1 = Fl.duplicate_along_line(step=(15mm, 0mm, 0mm), total=2) in RelativeCS2
  Rectangle3_1 = Rectangle3.duplicate_along_line(step=(15mm, 0mm, 0mm), total=2) in RelativeCS2
  Rectangle8_1 = Rectangle8.duplicate_along_line(step=(15mm, 0mm, 0mm), total=2) in RelativeCS2
  Rectangle14_1 = Rectangle14.duplicate_along_line(step=(15mm, 0mm, 0mm), total=2) in RelativeCS2
  Rectangle19_1 = Rectangle19.duplicate_along_line(step=(15mm, 0mm, 0mm), total=2) in RelativeCS2
  [Ground_1, Substrate_1, Fl_1, Rectangle3_1, Rectangle8_1, Rectangle14_1, Rectangle19_1].mirror(point=(8.2407666mm, 7.5mm, 0mm), normal=(-0.70710678mm, -0.70710678mm, 0mm)) in RelativeCS2
  Substrate_2 [Rogers RO4003 (tm)] = Substrate.duplicate_along_line(step=(0mm, -15mm, 0mm), total=2) in RelativeCS2
  Substrate_2_1 = Substrate_2.duplicate_along_line(step=(15mm, -2.6645353e-15mm, 0mm), total=2) in RelativeCS2
  Substrate_2_1.move(15mm, 0mm, 0mm) in RelativeCS2
  Substrate_2_1_1 [Rogers RO4003 (tm)] = Substrate_2_1.duplicate_along_line(step=(-15mm, 0mm, 0mm), total=2) in RelativeCS2
  Substrate_2_1.delete()
  Rectangle24 = rectangle(corner=(8.2407666mm, -22.5mm, -0.3mm), x_size=15mm, y_size=15mm) in RelativeCS2
  Rectangle25 = rectangle(corner=(9.9375mm, -18mm, -0.3mm), x_size=1.8mm, y_size=5.1mm) in RelativeCS2
  Rectangle25.move(0.6625mm, 0.45mm, 0mm) in RelativeCS2
  Rectangle25.move(0.1mm, 0mm, 0mm) in RelativeCS2
  Rectangle25.move(-0.1mm, 0mm, 0mm) in RelativeCS2
  Rectangle24.subtract(Rectangle25)
  Fl_1_1 = Fl_1.duplicate_along_line(step=(-7.5mm, 3.5527137e-15mm, 0mm), total=2) in RelativeCS2
  Rectangle8_1_1 = Rectangle8_1.duplicate_along_line(step=(-7.5mm, 3.5527137e-15mm, 0mm), total=2) in RelativeCS2
  Rectangle19_1_1 = Rectangle19_1.duplicate_along_line(step=(-7.5mm, 3.5527137e-15mm, 0mm), total=2) in RelativeCS2
  Rectangle14_1_1 = Rectangle14_1.duplicate_along_line(step=(-7.5mm, 3.5527137e-15mm, 0mm), total=2) in RelativeCS2
  Rectangle3_1_1 = Rectangle3_1.duplicate_along_line(step=(-7.5mm, 3.5527137e-15mm, 0mm), total=2) in RelativeCS2
  [Fl_1_1, Rectangle19_1_1, Rectangle8_1_1, Rectangle3_1_1, Rectangle14_1_1].move(-1.4210855e-14mm, -30mm, 0mm) in RelativeCS2
  [Fl_1_1, Rectangle8_1_1, Rectangle19_1_1, Rectangle14_1_1, Rectangle3_1_1].rotate(axis=Z, angle=-180deg) in RelativeCS2
  Rectangle26 = rectangle(corner=(8.2407666mm, -7.5mm, -0.3mm), x_size=-15mm, y_size=-15mm) in RelativeCS2
  [Fl_1_1, Rectangle8_1_1, Rectangle19_1_1, Rectangle14_1_1, Rectangle3_1_1].move(-0.25923345mm, -45mm, 0mm) in RelativeCS2
  Fl_1_1_1 = Fl_1_1.duplicate_along_line(step=(9.5mm, 0mm, 0mm), total=2) in RelativeCS2
  Fl_1_1.delete()
  Rectangle8_1_1_1 = Rectangle8_1_1.duplicate_along_line(step=(9.5mm, 0mm, 0mm), total=2) in RelativeCS2
  Rectangle8_1_1.delete()
  Rectangle19_1_1_1 = Rectangle19_1_1.duplicate_along_line(step=(9.5mm, 0mm, 0mm), total=2) in RelativeCS2
  Rectangle19_1_1.delete()
  Rectangle14_1_1_1 = Rectangle14_1_1.duplicate_along_line(step=(9.5mm, 0mm, 0mm), total=2) in RelativeCS2
  Rectangle14_1_1.delete()
  Rectangle3_1_1_1 = Rectangle3_1_1.duplicate_along_line(step=(9.5mm, 0mm, 0mm), total=2) in RelativeCS2
  Rectangle3_1_1.delete()
  Rectangle27 = rectangle(corner=(-1.55mm, -11.8mm, -0.3mm), x_size=5.1mm, y_size=1.8mm) in RelativeCS2
  Rectangle26.subtract(Rectangle27)
  Fl_1_1_1_1 = Fl_1_1_1.duplicate_along_line(step=(0mm, -13.5mm, 0mm), total=2) in RelativeCS2
  Rectangle3_1_1_1_1 = Rectangle3_1_1_1.duplicate_along_line(step=(0mm, -13.5mm, 0mm), total=2) in RelativeCS2
  Rectangle14_1_1_1_1 = Rectangle14_1_1_1.duplicate_along_line(step=(0mm, -13.5mm, 0mm), total=2) in RelativeCS2
  Rectangle8_1_1_1_1 = Rectangle8_1_1_1.duplicate_along_line(step=(0mm, -13.5mm, 0mm), total=2) in RelativeCS2
  Rectangle19_1_1_1_1 = Rectangle19_1_1_1.duplicate_along_line(step=(0mm, -13.5mm, 0mm), total=2) in RelativeCS2
  [Fl_1_1_1_1, Rectangle3_1_1_1_1, Rectangle14_1_1_1_1, Rectangle8_1_1_1_1, Rectangle19_1_1_1_1].rotate(axis=Z, angle=90deg) in RelativeCS2
  Fl_1_1_1_1_1 = Fl_1_1_1_1.duplicate_along_line(step=(0mm, -16mm, 0mm), total=2) in RelativeCS2
  Fl_1_1_1_1.delete()
  Rectangle8_1_1_1_1_1 = Rectangle8_1_1_1_1.duplicate_along_line(step=(0mm, -16mm, 0mm), total=2) in RelativeCS2
  Rectangle8_1_1_1_1.delete()
  Rectangle19_1_1_1_1_1 = Rectangle19_1_1_1_1.duplicate_along_line(step=(0mm, -16mm, 0mm), total=2) in RelativeCS2
  Rectangle19_1_1_1_1.delete()
  Rectangle3_1_1_1_1_1 = Rectangle3_1_1_1_1.duplicate_along_line(step=(0mm, -16mm, 0mm), total=2) in RelativeCS2
  Rectangle3_1_1_1_1.delete()
  Rectangle14_1_1_1_1_1 = Rectangle14_1_1_1_1.duplicate_along_line(step=(0mm, -16mm, 0mm), total=2) in RelativeCS2
  Rectangle14_1_1_1_1.delete()
  Fl_1_1_1_1_1_1 = Fl_1_1_1_1_1.duplicate_along_line(step=(-12.759233mm, 0mm, 0mm), total=2) in RelativeCS2
  Fl_1_1_1_1_1.delete()
  Rectangle8_1_1_1_1_1_1 = Rectangle8_1_1_1_1_1.duplicate_along_line(step=(-12.759233mm, 0mm, 0mm), total=2) in RelativeCS2
  Rectangle8_1_1_1_1_1.delete()
  Rectangle19_1_1_1_1_1_1 = Rectangle19_1_1_1_1_1.duplicate_along_line(step=(-12.759233mm, 0mm, 0mm), total=2) in RelativeCS2
  Rectangle19_1_1_1_1_1.delete()
  Rectangle3_1_1_1_1_1_1 = Rectangle3_1_1_1_1_1.duplicate_along_line(step=(-12.759233mm, 0mm, 0mm), total=2) in RelativeCS2
  Rectangle3_1_1_1_1_1.delete()
  Rectangle14_1_1_1_1_1_1 = Rectangle14_1_1_1_1_1.duplicate_along_line(step=(-12.759233mm, 0mm, 0mm), total=2) in RelativeCS2
  Rectangle14_1_1_1_1_1.delete()
  Rectangle28 = rectangle(corner=(0.6mm, -22.5mm, 0mm), z_size=-0.3mm, x_size=0.8mm) in RelativeCS2
  Rectangle30 = rectangle(corner=(16.140767mm, 7.5mm, 0mm), z_size=-0.3mm, x_size=-0.80076655mm) in RelativeCS2
  Rectangle14_2 = Rectangle14.duplicate_along_line(step=(-2.0007666mm, 0mm, 0mm), total=2) in RelativeCS2
  Rectangle3_2 = Rectangle3.duplicate_along_line(step=(-2.0007666mm, 0mm, 0mm), total=2) in RelativeCS2
  Rectangle8_2 = Rectangle8.duplicate_along_line(step=(-2.0007666mm, 0mm, 0mm), total=2) in RelativeCS2
  Rectangle19_2 = Rectangle19.duplicate_along_line(step=(-2.0007666mm, 0mm, 0mm), total=2) in RelativeCS2
  Rectangle8_1_1_1_2 = Rectangle8_1_1_1.duplicate_along_line(step=(0mm, -2mm, 0mm), total=2) in RelativeCS2
  Rectangle19_1_1_1_2 = Rectangle19_1_1_1.duplicate_along_line(step=(0mm, -2mm, 0mm), total=2) in RelativeCS2
  Rectangle3_1_1_1_2 = Rectangle3_1_1_1.duplicate_along_line(step=(0mm, -2mm, 0mm), total=2) in RelativeCS2
  Rectangle14_1_1_1_2 = Rectangle14_1_1_1.duplicate_along_line(step=(0mm, -2mm, 0mm), total=2) in RelativeCS2
  Rectangle14_1_1_1_1_1_1_1 = Rectangle14_1_1_1_1_1_1.duplicate_along_line(step=(2.0092334mm, 0mm, 0mm), total=2) in RelativeCS2
  Rectangle3_1_1_1_1_1_1_1 = Rectangle3_1_1_1_1_1_1.duplicate_along_line(step=(2.0092334mm, 0mm, 0mm), total=2) in RelativeCS2
  Rectangle8_1_1_1_1_1_1_1 = Rectangle8_1_1_1_1_1_1.duplicate_along_line(step=(2.0092334mm, 0mm, 0mm), total=2) in RelativeCS2
  Rectangle19_1_1_1_1_1_1_1 = Rectangle19_1_1_1_1_1_1.duplicate_along_line(step=(2.0092334mm, 0mm, 0mm), total=2) in RelativeCS2
  Rectangle19_1_2 = Rectangle19_1.duplicate_along_line(step=(0.014233449mm, 2mm, 0mm), total=2) in RelativeCS2
  Rectangle8_1_2 = Rectangle8_1.duplicate_along_line(step=(0.014233449mm, 2mm, 0mm), total=2) in RelativeCS2
  Rectangle3_1_2 = Rectangle3_1.duplicate_along_line(step=(0.014233449mm, 2mm, 0mm), total=2) in RelativeCS2
  Rectangle14_1_2 = Rectangle14_1.duplicate_along_line(step=(0.014233449mm, 2mm, 0mm), total=2) in RelativeCS2
  coordinate_system RelativeCS3 = origin=(-6.7592334mm, 7.5mm, 0mm) x=(1mm, 0mm, 0mm) y=(0mm, 1mm, 0mm) in RelativeCS2
  coordinate_system RelativeCS4 = origin=(30mm, -30mm, 0mm) x=(1mm, 0mm, 0mm) y=(0mm, 1mm, 0mm) in RelativeCS3
  Box1 = box(corner=(-4mm, 4.5mm, -1.2mm), size=(4mm, 0.9mm, 0.9mm)) in RelativeCS4
  Cylinder1 [brass] = cylinder(axis=X, base_centre=(Cx, Cy, Cz), radius=0.5mm, height=13.5mm) in RelativeCS4
  Box2 [brass] = box(corner=(0mm, 4.25mm, (-3.25+0.5) mm), size=(1.5mm, 6.5mm, 6.5mm)) in RelativeCS4
  Cylinder2 = cylinder(axis=X, base_centre=(Cx, Cy, Cz), radius=2.1mm, height=9.5mm) in RelativeCS4
  Box2.subtract(Cylinder2)
  Teflon [Teflon (tm)] = cylinder(axis=X, base_centre=(Cx+4mm, Cy, Cz), radius=2.1mm, height=9.5mm) in RelativeCS4
  Cylinder4 = cylinder(axis=X, base_centre=(Cx, Cy, Cz), radius=0.5mm, height=14mm) in RelativeCS4
  Teflon.subtract(Cylinder4)
  Cylinder5 = cylinder(axis=X, base_centre=(Cx+5.5mm, Cy, Cz), radius=2.5mm, height=8mm) in RelativeCS4
  Cylinder6 = cylinder(axis=X, base_centre=(Cx, Cy, Cz), radius=2.1mm, height=15mm) in RelativeCS4
  Cylinder5.subtract(Cylinder6)
  Box2.unite(Cylinder5)
  Box4 = box(corner=(-4mm, 9.6mm, -1.2mm), size=(4mm, 0.9mm, 0.9mm)) in RelativeCS4
  Box2.unite(Box1, Box4)
  Circle1 = circle(normal=X, centre=(Cx+13.5mm, Cy, Cz), radius=2.1mm) in RelativeCS4
  Box5 [vacuum] = box(corner=(-42mm, -11mm, 8mm), size=(54mm, 54mm, -16mm)) in RelativeCS4
  Cylinder12 [brass] = cylinder(axis=X, base_centre=(Cx, Cy, Cz), radius=0.5mm, height=13.5mm) in RelativeCS4
  Box9 [brass] = box(corner=(0mm, 4.25mm, (-3.25+0.5) mm), size=(1.5mm, 6.5mm, 6.5mm)) in RelativeCS4
  Cylinder13 = cylinder(axis=X, base_centre=(Cx, Cy, Cz), radius=2.1mm, height=9.5mm) in RelativeCS4
  Box9.subtract(Cylinder13)
  Cylinder15 = cylinder(axis=X, base_centre=(Cx+5.5mm, Cy, Cz), radius=2.5mm, height=8mm) in RelativeCS4
  Cylinder16 = cylinder(axis=X, base_centre=(Cx, Cy, Cz), radius=2.1mm, height=15mm) in RelativeCS4
  Cylinder15.subtract(Cylinder16)
  Box9.unite(Cylinder15)
  Box10 = box(corner=(-4mm, 4.5mm, -1.2mm), size=(4mm, 0.9mm, 0.9mm)) in RelativeCS4
  Box11 = box(corner=(-4mm, 9.6mm, -1.2mm), size=(4mm, 0.9mm, 0.9mm)) in RelativeCS4
  Box9.unite(Box10, Box11)
  Teflon2 [Teflon (tm)] = cylinder(axis=X, base_centre=(Cx+4mm, Cy, Cz), radius=2.1mm, height=9.5mm) in RelativeCS4
  Cylinder14 = cylinder(axis=X, base_centre=(Cx, Cy, Cz), radius=0.5mm, height=14mm) in RelativeCS4
  Teflon2.subtract(Cylinder14)
  [Cylinder12, Box9, Teflon2].rotate(axis=Z, angle=270deg) in RelativeCS4
  [Cylinder12, Box9, Teflon2].move(-29.740767mm, 0mm, 0mm) in RelativeCS4
  Cylinder22 [brass] = cylinder(axis=X, base_centre=(Cx, Cy, Cz), radius=0.5mm, height=13.5mm) in RelativeCS4
  Cylinder22.rotate(axis=Z, angle=270deg) in RelativeCS4
  Cylinder22.move(-29.740767mm, 0mm, 0mm) in RelativeCS4
  Box15 [brass] = box(corner=(0mm, 4.25mm, (-3.25+0.5) mm), size=(1.5mm, 6.5mm, 6.5mm)) in RelativeCS4
  Cylinder23 = cylinder(axis=X, base_centre=(Cx, Cy, Cz), radius=2.1mm, height=9.5mm) in RelativeCS4
  Box15.subtract(Cylinder23)
  Cylinder25 = cylinder(axis=X, base_centre=(Cx+5.5mm, Cy, Cz), radius=2.5mm, height=8mm) in RelativeCS4
  Cylinder26 = cylinder(axis=X, base_centre=(Cx, Cy, Cz), radius=2.1mm, height=15mm) in RelativeCS4
  Cylinder25.subtract(Cylinder26)
  Box15.unite(Cylinder25)
  Box16 = box(corner=(-4mm, 4.5mm, -1.2mm), size=(4mm, 0.9mm, 0.9mm)) in RelativeCS4
  Box17 = box(corner=(-4mm, 9.6mm, -1.2mm), size=(4mm, 0.9mm, 0.9mm)) in RelativeCS4
  Box15.unite(Box16, Box17)
  Box15.rotate(axis=Z, angle=270deg) in RelativeCS4
  Box15.move(-29.740767mm, 0mm, 0mm) in RelativeCS4
  Teflon4 [Teflon (tm)] = cylinder(axis=X, base_centre=(Cx+4mm, Cy, Cz), radius=2.1mm, height=9.5mm) in RelativeCS4
  Cylinder24 = cylinder(axis=X, base_centre=(Cx, Cy, Cz), radius=0.5mm, height=14mm) in RelativeCS4
  Teflon4.subtract(Cylinder24)
  Teflon4.rotate(axis=Z, angle=270deg) in RelativeCS4
  Teflon4.move(-29.740767mm, 0mm, 0mm) in RelativeCS4
  [Cylinder22, Box15, Teflon4].rotate(axis=Z, angle=90deg) in RelativeCS4
  [Cylinder22, Box15, Teflon4].rotate(axis=Z, angle=180deg) in RelativeCS4
  [Cylinder22, Box15, Teflon4].move(-30.125mm, 0.2mm, 0mm) in RelativeCS4
  Circle4 = circle(normal=X, centre=(-39.625mm, 22.440767mm, 0.5mm), radius=2.0798577mm) in RelativeCS4
  coordinate_system RelativeCS5 = origin=(-15mm, 15mm, 0mm) x=(1mm, 0mm, 0mm) y=(0mm, 1mm, 0mm) in RelativeCS4
  coordinate_system RelativeCS6 = origin=(7.0992334mm, 15mm, -0.3mm) x=(1mm, 0mm, 0mm) y=(0mm, 1mm, 0mm) in RelativeCS5
  coordinate_system RelativeCS7 = origin=(7.9007666mm, 0mm, 0.3mm) x=(1mm, 0mm, 0mm) y=(0mm, 1mm, 0mm) in RelativeCS6
  Cylinder27 [brass] = cylinder(axis=X, base_centre=(Cx, Cy, Cz), radius=0.5mm, height=13.5mm) in RelativeCS7
  Box18 [brass] = box(corner=(0mm, 4.25mm, (-3.25+0.5) mm), size=(1.5mm, 6.5mm, 6.5mm)) in RelativeCS7
  Cylinder28 = cylinder(axis=X, base_centre=(Cx, Cy, Cz), radius=2.1mm, height=9.5mm) in RelativeCS7
  Box18.subtract(Cylinder28)
  Cylinder30 = cylinder(axis=X, base_centre=(Cx+5.5mm, Cy, Cz), radius=2.5mm, height=8mm) in RelativeCS7
  Cylinder31 = cylinder(axis=X, base_centre=(Cx, Cy, Cz), radius=2.1mm, height=15mm) in RelativeCS7
  Cylinder30.subtract(Cylinder31)
  Box18.unite(Cylinder30)
  Box19 = box(corner=(-4mm, 4.5mm, -1.2mm), size=(4mm, 0.9mm, 0.9mm)) in RelativeCS7
  Box20 = box(corner=(-4mm, 9.6mm, -1.2mm), size=(4mm, 0.9mm, 0.9mm)) in RelativeCS7
  Box18.unite(Box19, Box20)
  Teflon5 [Teflon (tm)] = cylinder(axis=X, base_centre=(Cx+4mm, Cy, Cz), radius=2.1mm, height=9.5mm) in RelativeCS7
  Cylinder29 = cylinder(axis=X, base_centre=(Cx, Cy, Cz), radius=0.5mm, height=14mm) in RelativeCS7
  Teflon5.subtract(Cylinder29)
  [Cylinder27, Box18, Teflon5].rotate(axis=Z, angle=90deg) in RelativeCS7
  Circle5 = circle(normal=Y, centre=(-7.5mm, 9.5mm, 0.5mm), radius=2.1mm) in RelativeCS7
  Circle6 = circle(normal=Y, centre=(-22.240767mm, -39.5mm, 0.5mm), radius=2.1mm) in RelativeCS7
  group Connector = Cylinder1, Box2, Teflon
  group Connector2 = Cylinder12, Box9, Teflon2
  group Connector4 = Cylinder22, Box15, Teflon4
  group Connector5 = Cylinder27, Box18, Teflon5
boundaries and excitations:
  PerfE3: Perfect E Objects=Ground
  PerfE9: Perfect E Objects=Ground_1
  PerfE31: Perfect E Objects=Rectangle24
  PerfE37: Perfect E Objects=Rectangle26
  PerfE1: Perfect E Objects=[Rectangle19, Rectangle8, Rectangle14, Rectangle3, Fl]
  PerfE21: Perfect E Objects=[Fl_1_1_1, Rectangle14_1_1_1, Rectangle3_1_1_1, Rectangle8_1_1_1, Rectangle19_1_1_1]
  PerfE311: Perfect E Objects=[Fl_1_1_1_1_1_1, Rectangle3_1_1_1_1_1_1, Rectangle14_1_1_1_1_1_1, Rectangle8_1_1_1_1_1_1, Rectangle19_1_1_1_1_1_1]
  PerfE41: Perfect E Objects=[Fl_1, Rectangle19_1, Rectangle8_1, Rectangle3_1, Rectangle14_1]
  PerfE312: Perfect E Objects=[Rectangle19_1_2, Rectangle19_2, Rectangle19_1_1_1_2, Rectangle19_1_1_1_1_1_1_1, Rectangle14_2, Rectangle14_1_2, Rectangle14_1_1_1_2, Rectangle14_1_1_1_1_1_1_1, Rectangle8_2, Rectangle8_1_2, Rectangle8_1_1_1_2, Rectangle8_1_1_1_1_1_1_1, Rectangle3_2, Rectangle3_1_2, Rectangle3_1_1_1_2, Rectangle3_1_1_1_1_1_1_1]
  Rad1: Radiation Objects=Box5
  PerfE313: Perfect E Objects=[Rectangle2, Rectangle28, Rectangle30]
  1: Lumped Port Objects=Circle1 LumpedPortType=Modal Modes{Mode1{IntLine{(39.5, -7.5, -1.3) -> (39.5, -7.5, 0.3)} CharImp=Zpi RenormImp=50ohm}} Impedance=50ohm
  3: Lumped Port Objects=Circle4 LumpedPortType=Modal Modes{Mode1{IntLine{(-9625mm, 7250mm, -1250mm) -> (-9625mm, 7400mm, 300mm)} CharImp=Zpi RenormImp=50ohm}} Impedance=50ohm
  4: Lumped Port Objects=Circle5 LumpedPortType=Modal Modes{Mode1{IntLine{(22500mm, 24500mm, -1298mm) -> (22400mm, 24500mm, 300mm)} CharImp=Zpi RenormImp=50ohm}} Impedance=50ohm
  2: Lumped Port Objects=Circle6 LumpedPortType=Modal Modes{Mode1{IntLine{(7700mm, -24500mm, -1296mm) -> (7.7592334, -24.5, 0.3)} CharImp=Zpi RenormImp=50ohm}} Impedance=50ohm
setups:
  Setup2: HfssDriven MultipleAdaptiveFreqsSetup{AdaptAt{Frequency=28GHz Delta=0.2} AdaptAt{Frequency=36GHz Delta=0.2}} MaximumPasses=8 MinimumPasses=1 MinimumConvergedPasses=1 PercentRefinement=30 BasisOrder=1 PortAccuracy=2 DrivenSolverType="Direct Solver" SaveRadFieldsOnly
    sweep Sweep: 26GHz to 38GHz, 410 points; Type=Fast SaveFields
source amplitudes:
  1:1: 1W 0deg
  3:1, 4:1, 2:1: 0W 0deg
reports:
  Modified: dB(S(1,1)), dB(S(2,1)), dB(S(3,1)), dB(S(4,1)) vs Freq on Setup2 : Sweep; markers m5 at 37.92GHz, m7 at 38.2GHz
  S Parameter Plot 3: dB(S(1,1)), dB(S(2,1)), dB(S(3,1)), dB(S(4,1)) vs Freq on Setup2 : Sweep
  S Parameter Plot 4: dB(S(1,1)), dB(S(2,1)), dB(S(3,1)), dB(S(4,1)) vs Freq on Setup2 : Sweep
